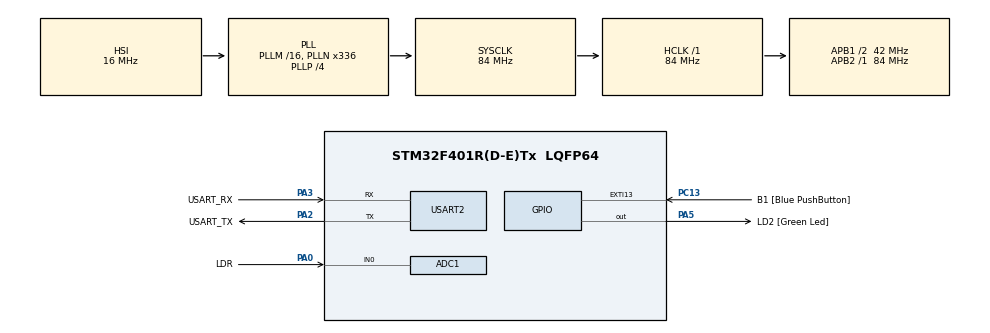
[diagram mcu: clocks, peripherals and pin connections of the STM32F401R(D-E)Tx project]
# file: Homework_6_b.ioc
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ADC1.Channel-0\#ChannelRegularConversion=ADC_CHANNEL_0
ADC1.DMAContinuousRequests=ENABLE
ADC1.ExternalTrigConv=ADC_EXTERNALTRIGCONV_T3_TRGO
ADC1.NbrOfConversionFlag=1
ADC1.Rank-0\#ChannelRegularConversion=1
ADC1.SamplingTime-0\#ChannelRegularConversion=ADC_SAMPLETIME_480CYCLES
ADC1.master=1
Dma.ADC1.1.Direction=DMA_PERIPH_TO_MEMORY
Dma.ADC1.1.FIFOMode=DMA_FIFOMODE_DISABLE
Dma.ADC1.1.Instance=DMA2_Stream0
Dma.ADC1.1.MemDataAlignment=DMA_MDATAALIGN_HALFWORD
Dma.ADC1.1.MemInc=DMA_MINC_ENABLE
Dma.ADC1.1.Mode=DMA_CIRCULAR
Dma.ADC1.1.PeriphDataAlignment=DMA_PDATAALIGN_HALFWORD
Dma.ADC1.1.PeriphInc=DMA_PINC_DISABLE
Dma.ADC1.1.Priority=DMA_PRIORITY_LOW
Dma.Request0=USART2_TX
Dma.Request1=ADC1
Dma.USART2_TX.0.Direction=DMA_MEMORY_TO_PERIPH
Dma.USART2_TX.0.FIFOMode=DMA_FIFOMODE_DISABLE
Dma.USART2_TX.0.Instance=DMA1_Stream6
Dma.USART2_TX.0.MemDataAlignment=DMA_MDATAALIGN_BYTE
Dma.USART2_TX.0.MemInc=DMA_MINC_ENABLE
Dma.USART2_TX.0.Mode=DMA_NORMAL
Dma.USART2_TX.0.PeriphDataAlignment=DMA_PDATAALIGN_BYTE
Dma.USART2_TX.0.PeriphInc=DMA_PINC_DISABLE
Dma.USART2_TX.0.Priority=DMA_PRIORITY_LOW
Mcu.Family=STM32F4
Mcu.Name=STM32F401R(D-E)Tx
Mcu.Package=LQFP64
NVIC.ADC_IRQn=true\:0\:0\:false\:false\:true\:true\:true\:true
NVIC.DMA1_Stream6_IRQn=true\:0\:0\:false\:false\:true\:false\:true\:true
NVIC.DMA2_Stream0_IRQn=true\:0\:0\:false\:false\:true\:false\:true\:true
NVIC.PriorityGroup=NVIC_PRIORITYGROUP_0
NVIC.USART2_IRQn=true\:0\:0\:false\:false\:true\:true\:true\:true
PA0-WKUP.GPIO_Label=LDR
PA0-WKUP.Signal=ADCx_IN0
PA13.GPIO_Label=TMS
PA13.Mode=Serial_Wire
PA13.Signal=SYS_JTMS-SWDIO
PA14.GPIO_Label=TCK
PA14.Mode=Serial_Wire
PA14.Signal=SYS_JTCK-SWCLK
PA2.GPIO_Label=USART_TX
PA2.GPIO_Mode=GPIO_MODE_AF_PP
PA2.GPIO_PuPd=GPIO_NOPULL
PA2.GPIO_Speed=GPIO_SPEED_FREQ_LOW
PA2.Mode=Asynchronous
PA2.Signal=USART2_TX
PA3.GPIO_Label=USART_RX
PA3.GPIO_Mode=GPIO_MODE_AF_PP
PA3.GPIO_PuPd=GPIO_NOPULL
PA3.GPIO_Speed=GPIO_SPEED_FREQ_LOW
PA3.Mode=Asynchronous
PA3.Signal=USART2_RX
PA5.GPIO_Label=LD2 [Green Led]
PA5.GPIO_Mode=GPIO_MODE_OUTPUT_PP
PA5.GPIO_PuPd=GPIO_NOPULL
PA5.GPIO_Speed=GPIO_SPEED_FREQ_LOW
PA5.Signal=GPIO_Output
PB3.GPIO_Label=SWO
PB3.Signal=SYS_JTDO-SWO
PC13-ANTI_TAMP.GPIO_Label=B1 [Blue PushButton]
PC13-ANTI_TAMP.GPIO_ModeDefaultEXTI=GPIO_MODE_IT_FALLING
PC13-ANTI_TAMP.GPIO_PuPd=GPIO_NOPULL
PC13-ANTI_TAMP.Signal=GPXTI13
PC14-OSC32_IN.Mode=LSE-External-Oscillator
PC14-OSC32_IN.Signal=RCC_OSC32_IN
PC15-OSC32_OUT.Mode=LSE-External-Oscillator
PC15-OSC32_OUT.Signal=RCC_OSC32_OUT
PH0\ -\ OSC_IN.Mode=HSE-External-Clock-Source
PH0\ -\ OSC_IN.Signal=RCC_OSC_IN
PH1\ -\ OSC_OUT.Mode=HSE-External-Clock-Source
PH1\ -\ OSC_OUT.Signal=RCC_OSC_OUT
ProjectManager.HeapSize=0x200
ProjectManager.StackSize=0x400
ProjectManager.TargetToolchain=STM32CubeIDE
RCC.48MHZClocksFreq_Value=48000000
RCC.AHBFreq_Value=84000000
RCC.APB1CLKDivider=RCC_HCLK_DIV2
RCC.APB1Freq_Value=42000000
RCC.APB1TimFreq_Value=84000000
RCC.APB2Freq_Value=84000000
RCC.APB2TimFreq_Value=84000000
RCC.CortexFreq_Value=84000000
RCC.HCLKFreq_Value=84000000
RCC.HSE_VALUE=8000000
RCC.HSI_VALUE=16000000
RCC.PLLN=336
RCC.PLLP=RCC_PLLP_DIV4
RCC.PLLQ=7
RCC.SYSCLKFreq_VALUE=84000000
RCC.SYSCLKSource=RCC_SYSCLKSOURCE_PLLCLK
RCC.VCOOutputFreq_Value=336000000
SH.ADCx_IN0.0=ADC1_IN0,IN0
TIM3.Period=9
TIM3.Prescaler=8399
TIM3.TIM_MasterOutputTrigger=TIM_TRGO_UPDATE
USART2.VirtualMode=VM_ASYNC
VP_TIM3_VS_ClockSourceINT.Mode=Internal
board=NUCLEO-F401RE

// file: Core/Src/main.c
/* USER CODE BEGIN Header */
/**
  ******************************************************************************
  * @file           : main.c
  * @brief          : Main program body
  ******************************************************************************
  * @attention
  *
  * Copyright (c) 2024 STMicroelectronics.
  * All rights reserved.
  *
  * This software is licensed under terms that can be found in the LICENSE file
  * in the root directory of this software component.
  * If no LICENSE file comes with this software, it is provided AS-IS.
  *
  ******************************************************************************
  */
/* USER CODE END Header */
#include "main.h"

/* USER CODE BEGIN Includes */
#include <string.h>
#include <stdio.h>
#include <math.h>
/* USER CODE END Includes */

/* USER CODE BEGIN PD */
#define FULL_ARRAY_SIZE 		2000
#define HALF_ARRAY_SIZE 		1000
#define VOLTAGE 				3.3
#define ONE_HUNDRED_K_OHMS		100000
#define RESOLUTION 				4095.0
/* USER CODE END PD */

ADC_HandleTypeDef hadc1;
DMA_HandleTypeDef hdma_adc1;

TIM_HandleTypeDef htim3;

UART_HandleTypeDef huart2;
DMA_HandleTypeDef hdma_usart2_tx;

void SystemClock_Config(void);
static void MX_GPIO_Init(void);
static void MX_DMA_Init(void);
static void MX_USART2_UART_Init(void);
static void MX_TIM3_Init(void);
static void MX_ADC1_Init(void);

/* USER CODE BEGIN 0 */

uint16_t adcValues[FULL_ARRAY_SIZE]; // Array to store ADC values from three channels
char txBuffer[50]; // Buffer to store the string to send over USART

/**
 * @brief Calculate and return mean value of an array
 */
uint32_t CalculateMean(uint16_t* HalfArray)
{
	uint32_t sum = 0;
	for(uint16_t index = 0; index < HALF_ARRAY_SIZE; index++)
	{
		sum += HalfArray[index];
	}
	uint32_t result = sum / HALF_ARRAY_SIZE;
	return result;
}

/**
 * @brief Modification and sending of LDR values to the terminal by using UART
 */
void SendData(uint16_t* HalfArray)
{
	// Calculate mean of desired half of array
	uint32_t adcMean = CalculateMean(HalfArray);
	// Calculate adcV, LDR and LUX values
	float adcV = adcMean / RESOLUTION * VOLTAGE;
	float ldr = adcV * ONE_HUNDRED_K_OHMS / (VOLTAGE - adcV);
	float lux = pow((10 * (ONE_HUNDRED_K_OHMS / ldr)), 1.25);

	snprintf(txBuffer, sizeof(txBuffer), "LDR: %.2f Ohm, LUX: %.2f Lux\r\n", ldr, lux);
	HAL_UART_Transmit_DMA(&huart2, (uint8_t*)txBuffer, strlen(txBuffer));
}

/**
 * @brief Half Callback of the ADC function
 * 		  Send data function, pointer to first value of array
 */
void HAL_ADC_ConvHalfCpltCallback(ADC_HandleTypeDef* hadc)
{
	SendData(adcValues);
}

/**
 * @brief Full Callback of the ADC function
 * 		  Send data function, pointer to 1000th value of array
 */
void HAL_ADC_ConvCpltCallback(ADC_HandleTypeDef* hadc)
{
	SendData(adcValues + HALF_ARRAY_SIZE);
}

/* USER CODE END 0 */

int main(void)
{

  /* MCU Configuration--------------------------------------------------------*/

  /* Reset of all peripherals, Initializes the Flash interface and the Systick. */
  HAL_Init();

  /* Configure the system clock */
  SystemClock_Config();

  /* Initialize all configured peripherals */
  MX_GPIO_Init();
  MX_DMA_Init();
  MX_USART2_UART_Init();
  MX_TIM3_Init();
  MX_ADC1_Init();
  /* USER CODE BEGIN 2 */

  /** Start TIM 3 (1 milli sec) **/
  if(HAL_TIM_Base_Start(&htim3) != HAL_OK)
  {
	 Error_Handler();
  }

  /** Start ADC **/
  if(HAL_ADC_Start_DMA(&hadc1, (uint32_t *) adcValues, FULL_ARRAY_SIZE) != HAL_OK)
  {
	 Error_Handler();
  }

  /* USER CODE END 2 */

  /* Infinite loop */
  while (1)
  {

  }
}

void SystemClock_Config(void)
{
  RCC_OscInitTypeDef RCC_OscInitStruct = {0};
  RCC_ClkInitTypeDef RCC_ClkInitStruct = {0};

  /** Configure the main internal regulator output voltage
  */
  __HAL_RCC_PWR_CLK_ENABLE();
  __HAL_PWR_VOLTAGESCALING_CONFIG(PWR_REGULATOR_VOLTAGE_SCALE2);

  /** Initializes the RCC Oscillators according to the specified parameters
  * in the RCC_OscInitTypeDef structure.
  */
  RCC_OscInitStruct.OscillatorType = RCC_OSCILLATORTYPE_HSI;
  RCC_OscInitStruct.HSIState = RCC_HSI_ON;
  RCC_OscInitStruct.HSICalibrationValue = RCC_HSICALIBRATION_DEFAULT;
  RCC_OscInitStruct.PLL.PLLState = RCC_PLL_ON;
  RCC_OscInitStruct.PLL.PLLSource = RCC_PLLSOURCE_HSI;
  RCC_OscInitStruct.PLL.PLLM = 16;
  RCC_OscInitStruct.PLL.PLLN = 336;
  RCC_OscInitStruct.PLL.PLLP = RCC_PLLP_DIV4;
  RCC_OscInitStruct.PLL.PLLQ = 7;
  if (HAL_RCC_OscConfig(&RCC_OscInitStruct) != HAL_OK)
  {
    Error_Handler();
  }

  /** Initializes the CPU, AHB and APB buses clocks
  */
  RCC_ClkInitStruct.ClockType = RCC_CLOCKTYPE_HCLK|RCC_CLOCKTYPE_SYSCLK
                              |RCC_CLOCKTYPE_PCLK1|RCC_CLOCKTYPE_PCLK2;
  RCC_ClkInitStruct.SYSCLKSource = RCC_SYSCLKSOURCE_PLLCLK;
  RCC_ClkInitStruct.AHBCLKDivider = RCC_SYSCLK_DIV1;
  RCC_ClkInitStruct.APB1CLKDivider = RCC_HCLK_DIV2;
  RCC_ClkInitStruct.APB2CLKDivider = RCC_HCLK_DIV1;

  if (HAL_RCC_ClockConfig(&RCC_ClkInitStruct, FLASH_LATENCY_2) != HAL_OK)
  {
    Error_Handler();
  }
}

static void MX_ADC1_Init(void)
{

  ADC_ChannelConfTypeDef sConfig = {0};

  /** Configure the global features of the ADC (Clock, Resolution, Data Alignment and number of conversion)
  */
  hadc1.Instance = ADC1;
  hadc1.Init.ClockPrescaler = ADC_CLOCK_SYNC_PCLK_DIV4;
  hadc1.Init.Resolution = ADC_RESOLUTION_12B;
  hadc1.Init.ScanConvMode = DISABLE;
  hadc1.Init.ContinuousConvMode = DISABLE;
  hadc1.Init.DiscontinuousConvMode = DISABLE;
  hadc1.Init.ExternalTrigConvEdge = ADC_EXTERNALTRIGCONVEDGE_RISING;
  hadc1.Init.ExternalTrigConv = ADC_EXTERNALTRIGCONV_T3_TRGO;
  hadc1.Init.DataAlign = ADC_DATAALIGN_RIGHT;
  hadc1.Init.NbrOfConversion = 1;
  hadc1.Init.DMAContinuousRequests = ENABLE;
  hadc1.Init.EOCSelection = ADC_EOC_SINGLE_CONV;
  if (HAL_ADC_Init(&hadc1) != HAL_OK)
  {
    Error_Handler();
  }

  /** Configure for the selected ADC regular channel its corresponding rank in the sequencer and its sample time.
  */
  sConfig.Channel = ADC_CHANNEL_0;
  sConfig.Rank = 1;
  sConfig.SamplingTime = ADC_SAMPLETIME_480CYCLES;
  if (HAL_ADC_ConfigChannel(&hadc1, &sConfig) != HAL_OK)
  {
    Error_Handler();
  }

}

static void MX_TIM3_Init(void)
{

  TIM_ClockConfigTypeDef sClockSourceConfig = {0};
  TIM_MasterConfigTypeDef sMasterConfig = {0};

  htim3.Instance = TIM3;
  htim3.Init.Prescaler = 8399;
  htim3.Init.CounterMode = TIM_COUNTERMODE_UP;
  htim3.Init.Period = 9;
  htim3.Init.ClockDivision = TIM_CLOCKDIVISION_DIV1;
  htim3.Init.AutoReloadPreload = TIM_AUTORELOAD_PRELOAD_DISABLE;
  if (HAL_TIM_Base_Init(&htim3) != HAL_OK)
  {
    Error_Handler();
  }
  sClockSourceConfig.ClockSource = TIM_CLOCKSOURCE_INTERNAL;
  if (HAL_TIM_ConfigClockSource(&htim3, &sClockSourceConfig) != HAL_OK)
  {
    Error_Handler();
  }
  sMasterConfig.MasterOutputTrigger = TIM_TRGO_UPDATE;
  sMasterConfig.MasterSlaveMode = TIM_MASTERSLAVEMODE_DISABLE;
  if (HAL_TIMEx_MasterConfigSynchronization(&htim3, &sMasterConfig) != HAL_OK)
  {
    Error_Handler();
  }

}

static void MX_USART2_UART_Init(void)
{

  huart2.Instance = USART2;
  huart2.Init.BaudRate = 115200;
  huart2.Init.WordLength = UART_WORDLENGTH_8B;
  huart2.Init.StopBits = UART_STOPBITS_1;
  huart2.Init.Parity = UART_PARITY_NONE;
  huart2.Init.Mode = UART_MODE_TX_RX;
  huart2.Init.HwFlowCtl = UART_HWCONTROL_NONE;
  huart2.Init.OverSampling = UART_OVERSAMPLING_16;
  if (HAL_UART_Init(&huart2) != HAL_OK)
  {
    Error_Handler();
  }

}

static void MX_DMA_Init(void)
{

  /* DMA controller clock enable */
  __HAL_RCC_DMA1_CLK_ENABLE();
  __HAL_RCC_DMA2_CLK_ENABLE();

  /* DMA interrupt init */
  /* DMA1_Stream6_IRQn interrupt configuration */
  HAL_NVIC_SetPriority(DMA1_Stream6_IRQn, 0, 0);
  HAL_NVIC_EnableIRQ(DMA1_Stream6_IRQn);
  /* DMA2_Stream0_IRQn interrupt configuration */
  HAL_NVIC_SetPriority(DMA2_Stream0_IRQn, 0, 0);
  HAL_NVIC_EnableIRQ(DMA2_Stream0_IRQn);

}

static void MX_GPIO_Init(void)
{
  GPIO_InitTypeDef GPIO_InitStruct = {0};

  /* GPIO Ports Clock Enable */
  __HAL_RCC_GPIOC_CLK_ENABLE();
  __HAL_RCC_GPIOH_CLK_ENABLE();
  __HAL_RCC_GPIOA_CLK_ENABLE();
  __HAL_RCC_GPIOB_CLK_ENABLE();

  /*Configure GPIO pin Output Level */
  HAL_GPIO_WritePin(LD2_GPIO_Port, LD2_Pin, GPIO_PIN_RESET);

  /*Configure GPIO pin : B1_Pin */
  GPIO_InitStruct.Pin = B1_Pin;
  GPIO_InitStruct.Mode = GPIO_MODE_IT_FALLING;
  GPIO_InitStruct.Pull = GPIO_NOPULL;
  HAL_GPIO_Init(B1_GPIO_Port, &GPIO_InitStruct);

  /*Configure GPIO pin : LD2_Pin */
  GPIO_InitStruct.Pin = LD2_Pin;
  GPIO_InitStruct.Mode = GPIO_MODE_OUTPUT_PP;
  GPIO_InitStruct.Pull = GPIO_NOPULL;
  GPIO_InitStruct.Speed = GPIO_SPEED_FREQ_LOW;
  HAL_GPIO_Init(LD2_GPIO_Port, &GPIO_InitStruct);

}

void Error_Handler(void)
{
  __disable_irq();
  while (1)
  {
  }
}
